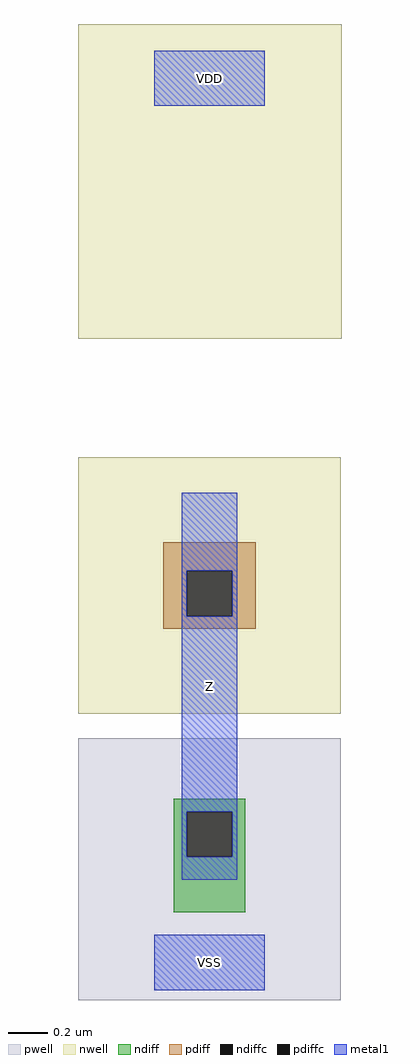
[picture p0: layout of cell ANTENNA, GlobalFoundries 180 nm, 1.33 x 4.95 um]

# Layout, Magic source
magic
tech gf180mcuD
magscale 1 10
<< nwell >>
rect -77 632 190 951
rect -77 252 189 512
<< pwell >>
rect -77 -38 189 227
<< ndiff >>
rect 20 153 92 166
rect 20 107 33 153
rect 79 107 92 153
rect 20 51 92 107
<< pdiff >>
rect 9 397 103 426
rect 9 351 33 397
rect 79 351 103 397
rect 9 338 103 351
<< ndiffc >>
rect 33 107 79 153
<< pdiffc >>
rect 33 351 79 397
<< metal1 >>
rect 0 868 112 924
rect 28 397 84 476
rect 28 351 33 397
rect 79 351 84 397
rect 28 153 84 351
rect 28 107 33 153
rect 79 107 84 153
rect 28 84 84 107
rect 0 -28 112 28
<< labels >>
rlabel metal1 28 84 84 476 0 Z
port 1 nsew signal output
rlabel metal1 0 -28 112 28 0 VSS
port 2 nsew ground bidirectional
rlabel metal1 0 868 112 924 0 VDD
port 3 nsew power bidirectional
<< properties >>
string FIXED_BBOX 0 0 112 896
string fixed_BBOX 0 0 112 896
string LEFclass core
string LEFsite site056um
<< end >>
